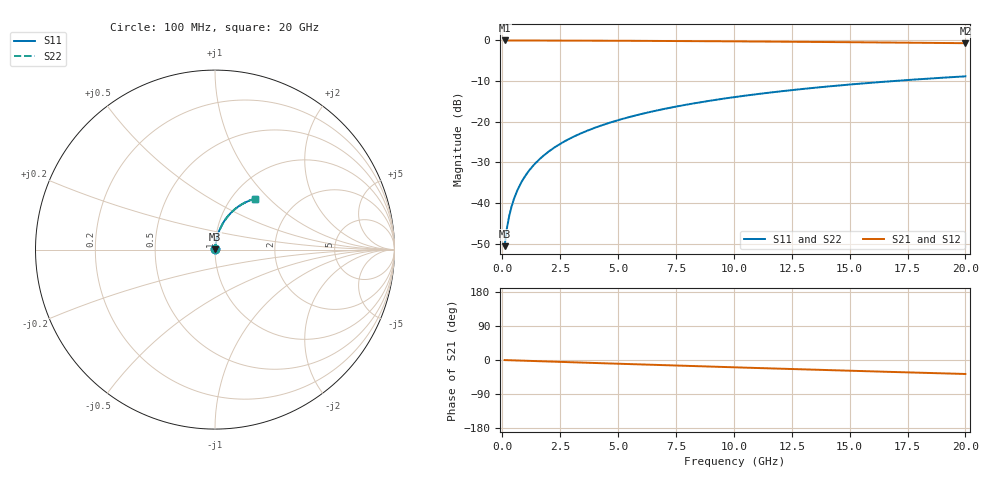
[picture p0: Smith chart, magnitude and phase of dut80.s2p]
! Touchstone file exported from HFSS 2026.1.0
!  File:  C:/ffzhzh/LocalFiles/Ansys_Project_Files/temp_train_BSMRDL_80_1782883040_8056.aedt
!  Generated:  01:18:39 PM Jul  1, 2026
!  Design:  BSMRDL
!  Project:  temp_train_BSMRDL_80_1782883040_8056
! Variables:
!  h_bsmrdl = 4.94um
!  h_ox = 20um
!  h_rdl = 5um
!  h_sub = 80um
!  h_tmrdl = 5um
!  h_tsv = 80um
!  h_via = 3um
!  l_bsmrdl = 513.58um
!  l_sub = 913.58um
!  l_tmrdl = 200um
!  m_sub = 200um
!  pitch = 54.55um
!  r_tsv = 6um
!  s_tmrdl = 10um
!  w_bsmrdl = 21.91um
!  w_sub = 500um
!  w_tmrdl = 12um
!  x_tsv_center1 = 206um
!  x_tsv_center2 = 741.49um
!  x_tsv_center3 = 953.49um
!  x_tsv_center4 = 1488.98um
!  x_tsv_center5 = 1700.98um
!  x_tsv_center6 = 2236.47um
# GHz S MA R 50.000000
! Terminal data exported
! Port[1] = BSM_RDL1_1_T1
! Port[2] = BSM_RDL1_1_T2
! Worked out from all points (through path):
!   200 points, 100 MHz to 20 GHz, reference 50 ohm
!   highest |S21| = -0.02 dB at 100 MHz (marker M1); lowest = -0.7 dB at 20 GHz (marker M2)
!   group delay of S21, straight-line fit = 5.13 ps
!   lowest |S11| = -50.6 dB at 100 MHz (marker M3), VSWR 1.01, Z = 50.2 + j0.229 ohm
!   |S11| at or under -10 dB: start of sweep to 16.91 GHz
!   |S22| runs from -50.6 to -8.8 dB; largest |S21 - S12| = 3.5e-15
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0.1  0.002937 51.1  0.9982 -0.2  0.9982 -0.2  0.002937 51.1
! Gamma 0 0 0 0
! Port Impedance 50 0 50 0
0.2  0.004897 66.2  0.998 -0.4  0.998 -0.4  0.004897 66.2
0.3  0.006944 72.3  0.9979 -0.6  0.9979 -0.6  0.006944 72.3
0.4  0.009014 75.7  0.9979 -0.8  0.9979 -0.8  0.009014 75.7
0.5  0.0111 77.9  0.9978 -1.0  0.9978 -1.0  0.0111 77.9
0.7  0.01531 80.3  0.9977 -1.4  0.9977 -1.4  0.01531 80.3
0.8  0.01742 81.0  0.9976 -1.6  0.9976 -1.6  0.01742 81.0
1  0.02166 81.8  0.9974 -2.0  0.9974 -2.0  0.02166 81.8
1.2  0.0259 82.3  0.9973 -2.4  0.9973 -2.4  0.0259 82.3
1.4  0.03013 82.5  0.9971 -2.8  0.9971 -2.8  0.03013 82.5
1.7  0.03648 82.5  0.9967 -3.4  0.9967 -3.4  0.03648 82.5
2  0.0428 82.3  0.9963 -4.0  0.9963 -4.0  0.0428 82.3
2.7  0.05743 81.4  0.9952 -5.4  0.9952 -5.4  0.05743 81.5
3.5  0.07395 80.2  0.9936 -6.9  0.9936 -6.9  0.07395 80.2
4.2  0.08821 79.0  0.992 -8.3  0.992 -8.3  0.08821 79.0
5  0.1043 77.6  0.99 -9.8  0.99 -9.8  0.1043 77.6
6.8  0.1397 74.5  0.9847 -13.3  0.9847 -13.3  0.1397 74.5
8.3  0.1684 71.8  0.9796 -16.1  0.9796 -16.1  0.1684 71.8
10.1  0.2018 68.6  0.9727 -19.5  0.9727 -19.5  0.2018 68.6
13.4  0.2598 62.9  0.9581 -25.5  0.9581 -25.5  0.2598 62.9
16.7  0.3131 57.2  0.9415 -31.3  0.9415 -31.3  0.3131 57.2
20  0.3612 51.7  0.9239 -36.9  0.9239 -36.9  0.3612 51.8
